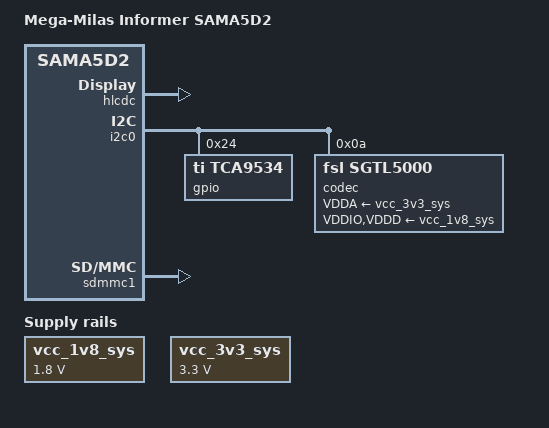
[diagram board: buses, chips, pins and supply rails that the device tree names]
/* SPDX-License-Identifier: GPL-2.0+ */
/* SPDX-FileCopyrightText: Alexander Shiyan <shc_work@mail.ru> */

/dts-v1/;

#include "mm-sm-sama5d2.dtsi"

/ {
	model = "Mega-Milas Informer SAMA5D2";
	compatible = "milas,informer-sama5d2", "milas,mm-sm-sama5d2",
		     "atmel,sama5d27", "atmel,sama5d2", "atmel,sama5";

	chosen {
		environment-sd {
			compatible = "barebox,environment";
			device-path = &sdmmc1, "partname:0";
			file-path = "barebox.env";
			status = "disabled";
		};

		environment-qspi {
			compatible = "barebox,environment";
			device-path = &flash, "partname:env";
			status = "disabled";
		};
	};

	vcc_1v8_sys: vcc-1v8-sys-regulator {
		compatible = "regulator-fixed";
		regulator-name = "vcc_1v8_sys";
		regulator-min-microvolt = <1800000>;
		regulator-max-microvolt = <1800000>;
	};

	vcc_3v3_sys: vcc-3v3-sys-regulator {
		compatible = "regulator-fixed";
		regulator-name = "vcc_3v3_sys";
		regulator-min-microvolt = <3300000>;
		regulator-max-microvolt = <3300000>;
	};
};

&flash {
//	partitions {
//		compatible = "fixed-partitions";
		#address-cells = <1>;
		#size-cells = <1>;

		partition@0 {
			label = "bootstrap";
			reg = <0 0x10000>;
		};

		partition@10000 {
			label = "boot";
			reg = <0x10000 0x60000>;
		};

		partition@70000 {
			label = "env";
			reg = <0x70000 0x40000>;
		};

		partition@b0000 {
			label = "system";
			reg = <0xb0000 0>;
		};
//	};
};

&hlcdc {
	status = "okay";

	hlcdc-display-controller {
		bus-width = <18>;

		port@0 {
			//TODO:
		};
	};
};

&i2c0 {
	gpio@24 {
		compatible = "ti,tca9534", "nxp,pca9534";
		reg = <0x24>;
		gpio-controller;

		#gpio-cells = <2>;
	};

	codec@a {
		compatible = "fsl,sgtl5000";
		reg =<0xa>;
//		clocks = <&clk24m>;
		micbias-resistor-k-ohms = <2>;
		VDDA-supply = <&vcc_3v3_sys>;
		VDDIO-supply = <&vcc_1v8_sys>;
		VDDD-supply = <&vcc_1v8_sys>;

		#sound-dai-cells = <0>;
	};
};

&sdmmc1 {
	disable-wp;
	status = "okay";
};

&vcc_sd {
	vin-supply = <&vcc_3v3_sys>;
};

&pioA {
	pinctrl_hlcdc_default: hlcdc-grp-default {
		bits24 {
			pinmux = <PIN_PB11__GPIO>,
				 <PIN_PB12__GPIO>,
				 <PIN_PB19__GPIO>,
				 <PIN_PB20__GPIO>,
				 <PIN_PB27__GPIO>,
				 <PIN_PB28__GPIO>;
			bias-pull-down;
		};
	};
};
